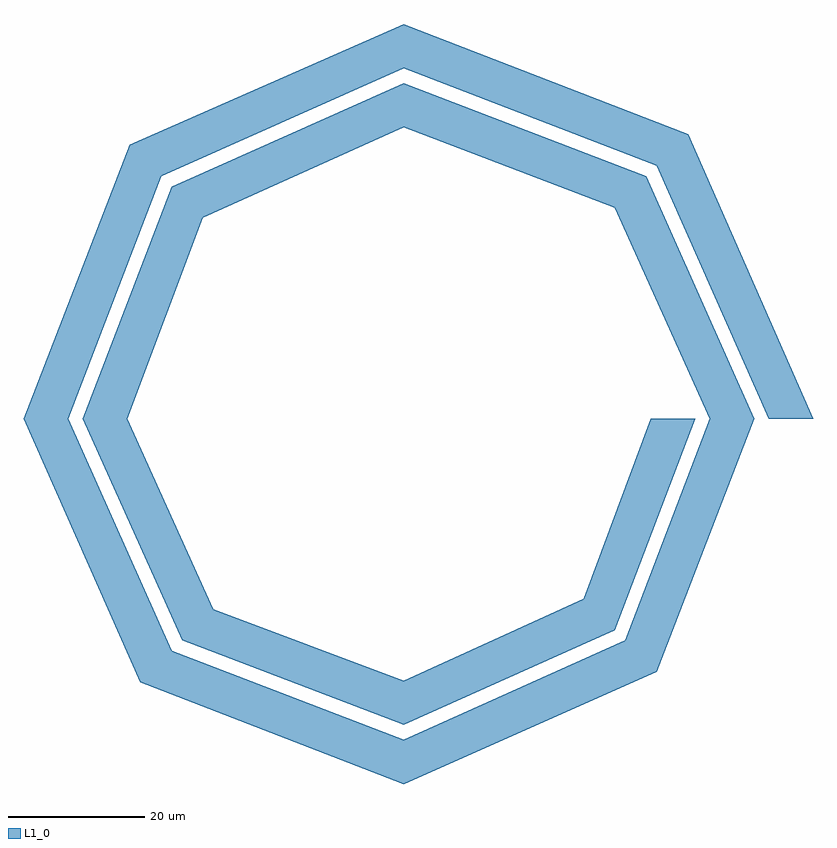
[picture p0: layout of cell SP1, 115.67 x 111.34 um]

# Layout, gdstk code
import gdstk
lib = gdstk.Library(unit=1e-6, precision=1e-09)
def P(c, l, *ps):  # polygons
    for p in ps: c.add(gdstk.Polygon(p, *l))
L1_0 = (1, 0)

sp1 = lib.new_cell('SP1')
P(sp1, L1_0, [(311.34,255.67),(294.9,292.73),(299.49,297.33),(317.83,255.67)],
  [(294.9,292.73),(257.83,307.01),(257.83,313.5),(299.49,297.33)],
  [(222.29,291.2),(217.7,295.8),(257.83,313.5),(257.83,307.01)],
  [(202.16,255.67),(217.7,295.8),(222.29,291.2),(208.65,255.67)],
  [(219.23,217.07),(202.16,255.67),(208.65,255.67),(223.82,221.66)],
  [(257.83,202.16),(219.23,217.07),(223.82,221.66),(257.83,208.65)],
  [(257.83,202.16),(257.83,208.65),(290.31,223.19),(294.9,218.6)],
  [(294.9,218.6),(290.31,223.19),(302.68,255.67),(309.17,255.67)],
  [(302.68,255.67),(288.78,286.61),(293.37,291.2),(309.17,255.67)],
  [(288.78,286.61),(257.83,298.35),(257.83,304.84),(293.37,291.2)],
  [(228.42,285.08),(223.82,289.67),(257.83,304.84),(257.83,298.35)],
  [(210.82,255.67),(223.82,289.67),(228.42,285.08),(217.31,255.67)],
  [(225.35,223.19),(210.82,255.67),(217.31,255.67),(229.95,227.78)],
  [(257.83,210.82),(225.35,223.19),(229.95,227.78),(257.83,217.31)],
  [(257.83,210.82),(257.83,217.31),(284.18,229.31),(288.78,224.72)],
  [(288.78,224.72),(284.18,229.31),(294.02,255.67),(300.51,255.67)])

lib.write_gds('SP1.gds')
